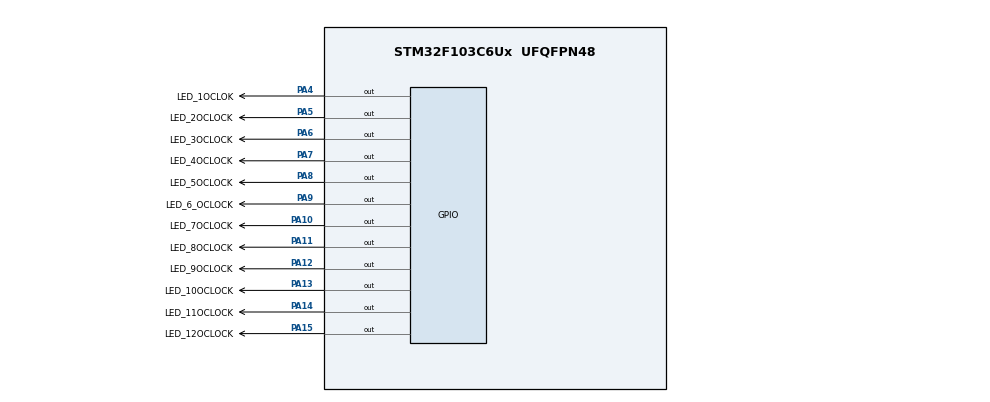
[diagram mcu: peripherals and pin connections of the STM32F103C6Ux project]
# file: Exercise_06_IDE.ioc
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Mcu.Family=STM32F1
Mcu.Name=STM32F103C6Ux
Mcu.Package=UFQFPN48
NVIC.PriorityGroup=NVIC_PRIORITYGROUP_4
PA10.GPIO_Label=LED_7OCLOCK
PA10.PinState=GPIO_PIN_SET
PA10.Signal=GPIO_Output
PA11.GPIO_Label=LED_8OCLOCK
PA11.PinState=GPIO_PIN_SET
PA11.Signal=GPIO_Output
PA12.GPIO_Label=LED_9OCLOCK
PA12.PinState=GPIO_PIN_SET
PA12.Signal=GPIO_Output
PA13.GPIO_Label=LED_10OCLOCK
PA13.PinState=GPIO_PIN_SET
PA13.Signal=GPIO_Output
PA14.GPIO_Label=LED_11OCLOCK
PA14.PinState=GPIO_PIN_SET
PA14.Signal=GPIO_Output
PA15.GPIO_Label=LED_12OCLOCK
PA15.PinState=GPIO_PIN_SET
PA15.Signal=GPIO_Output
PA4.GPIO_Label=LED_1OCLOK
PA4.PinState=GPIO_PIN_SET
PA4.Signal=GPIO_Output
PA5.GPIO_Label=LED_2OCLOCK
PA5.PinState=GPIO_PIN_SET
PA5.Signal=GPIO_Output
PA6.GPIO_Label=LED_3OCLOCK
PA6.PinState=GPIO_PIN_SET
PA6.Signal=GPIO_Output
PA7.GPIO_Label=LED_4OCLOCK
PA7.PinState=GPIO_PIN_SET
PA7.Signal=GPIO_Output
PA8.GPIO_Label=LED_5OCLOCK
PA8.PinState=GPIO_PIN_SET
PA8.Signal=GPIO_Output
PA9.GPIO_Label=LED_6_OCLOCK
PA9.PinState=GPIO_PIN_SET
PA9.Signal=GPIO_Output
ProjectManager.HeapSize=0x200
ProjectManager.StackSize=0x400
ProjectManager.TargetToolchain=STM32CubeIDE
RCC.APB1Freq_Value=8000000
RCC.APB2Freq_Value=8000000
VP_SYS_VS_ND.Mode=No_Debug
board=custom

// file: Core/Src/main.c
/* USER CODE BEGIN Header */
/**
  ******************************************************************************
  * @file           : main.c
  * @brief          : Main program body
  ******************************************************************************
  * @attention
  *
  * Copyright (c) 2026 STMicroelectronics.
  * All rights reserved.
  *
  * This software is licensed under terms that can be found in the LICENSE file
  * in the root directory of this software component.
  * If no LICENSE file comes with this software, it is provided AS-IS.
  *
  ******************************************************************************
  */
/* USER CODE END Header */
#include "main.h"

void SystemClock_Config(void);
static void MX_GPIO_Init(void);

int main(void)
{

  /* USER CODE BEGIN 1 */
	uint16_t ledPin[12] = {
			LED_1OCLOK_Pin,
			LED_2OCLOCK_Pin,
			LED_3OCLOCK_Pin,
			LED_4OCLOCK_Pin,
			LED_5OCLOCK_Pin,
			LED_6_OCLOCK_Pin,
			LED_7OCLOCK_Pin,
			LED_8OCLOCK_Pin,
			LED_9OCLOCK_Pin,
			LED_10OCLOCK_Pin,
			LED_11OCLOCK_Pin,
			LED_12OCLOCK_Pin,
	};

	int i;

  /* USER CODE END 1 */

  /* MCU Configuration--------------------------------------------------------*/

  /* Reset of all peripherals, Initializes the Flash interface and the Systick. */
  HAL_Init();

  /* Configure the system clock */
  SystemClock_Config();

  /* Initialize all configured peripherals */
  MX_GPIO_Init();

  /* Infinite loop */
  /* USER CODE BEGIN WHILE */
  while (1)
  {
	  for (i = 0; i < 12; i++) {
		  HAL_GPIO_TogglePin(GPIOA, ledPin[i]);
		  HAL_Delay(500);

		  HAL_GPIO_TogglePin(GPIOA, ledPin[i]);
	  }
    /* USER CODE END WHILE */

  }
}

void SystemClock_Config(void)
{
  RCC_OscInitTypeDef RCC_OscInitStruct = {0};
  RCC_ClkInitTypeDef RCC_ClkInitStruct = {0};

  /** Initializes the RCC Oscillators according to the specified parameters
  * in the RCC_OscInitTypeDef structure.
  */
  RCC_OscInitStruct.OscillatorType = RCC_OSCILLATORTYPE_HSI;
  RCC_OscInitStruct.HSIState = RCC_HSI_ON;
  RCC_OscInitStruct.HSICalibrationValue = RCC_HSICALIBRATION_DEFAULT;
  RCC_OscInitStruct.PLL.PLLState = RCC_PLL_NONE;
  if (HAL_RCC_OscConfig(&RCC_OscInitStruct) != HAL_OK)
  {
    Error_Handler();
  }

  /** Initializes the CPU, AHB and APB buses clocks
  */
  RCC_ClkInitStruct.ClockType = RCC_CLOCKTYPE_HCLK|RCC_CLOCKTYPE_SYSCLK
                              |RCC_CLOCKTYPE_PCLK1|RCC_CLOCKTYPE_PCLK2;
  RCC_ClkInitStruct.SYSCLKSource = RCC_SYSCLKSOURCE_HSI;
  RCC_ClkInitStruct.AHBCLKDivider = RCC_SYSCLK_DIV1;
  RCC_ClkInitStruct.APB1CLKDivider = RCC_HCLK_DIV1;
  RCC_ClkInitStruct.APB2CLKDivider = RCC_HCLK_DIV1;

  if (HAL_RCC_ClockConfig(&RCC_ClkInitStruct, FLASH_LATENCY_0) != HAL_OK)
  {
    Error_Handler();
  }
}

static void MX_GPIO_Init(void)
{
  GPIO_InitTypeDef GPIO_InitStruct = {0};

  /* GPIO Ports Clock Enable */
  __HAL_RCC_GPIOA_CLK_ENABLE();

  /*Configure GPIO pin Output Level */
  HAL_GPIO_WritePin(GPIOA, LED_1OCLOK_Pin|LED_2OCLOCK_Pin|LED_3OCLOCK_Pin|LED_4OCLOCK_Pin
                          |LED_5OCLOCK_Pin|LED_6_OCLOCK_Pin|LED_7OCLOCK_Pin|LED_8OCLOCK_Pin
                          |LED_9OCLOCK_Pin|LED_10OCLOCK_Pin|LED_11OCLOCK_Pin|LED_12OCLOCK_Pin, GPIO_PIN_SET);

  /*Configure GPIO pins : LED_1OCLOK_Pin LED_2OCLOCK_Pin LED_3OCLOCK_Pin LED_4OCLOCK_Pin
                           LED_5OCLOCK_Pin LED_6_OCLOCK_Pin LED_7OCLOCK_Pin LED_8OCLOCK_Pin
                           LED_9OCLOCK_Pin LED_10OCLOCK_Pin LED_11OCLOCK_Pin LED_12OCLOCK_Pin */
  GPIO_InitStruct.Pin = LED_1OCLOK_Pin|LED_2OCLOCK_Pin|LED_3OCLOCK_Pin|LED_4OCLOCK_Pin
                          |LED_5OCLOCK_Pin|LED_6_OCLOCK_Pin|LED_7OCLOCK_Pin|LED_8OCLOCK_Pin
                          |LED_9OCLOCK_Pin|LED_10OCLOCK_Pin|LED_11OCLOCK_Pin|LED_12OCLOCK_Pin;
  GPIO_InitStruct.Mode = GPIO_MODE_OUTPUT_PP;
  GPIO_InitStruct.Pull = GPIO_NOPULL;
  GPIO_InitStruct.Speed = GPIO_SPEED_FREQ_LOW;
  HAL_GPIO_Init(GPIOA, &GPIO_InitStruct);

}

void Error_Handler(void)
{
  __disable_irq();
  while (1)
  {
  }
}
